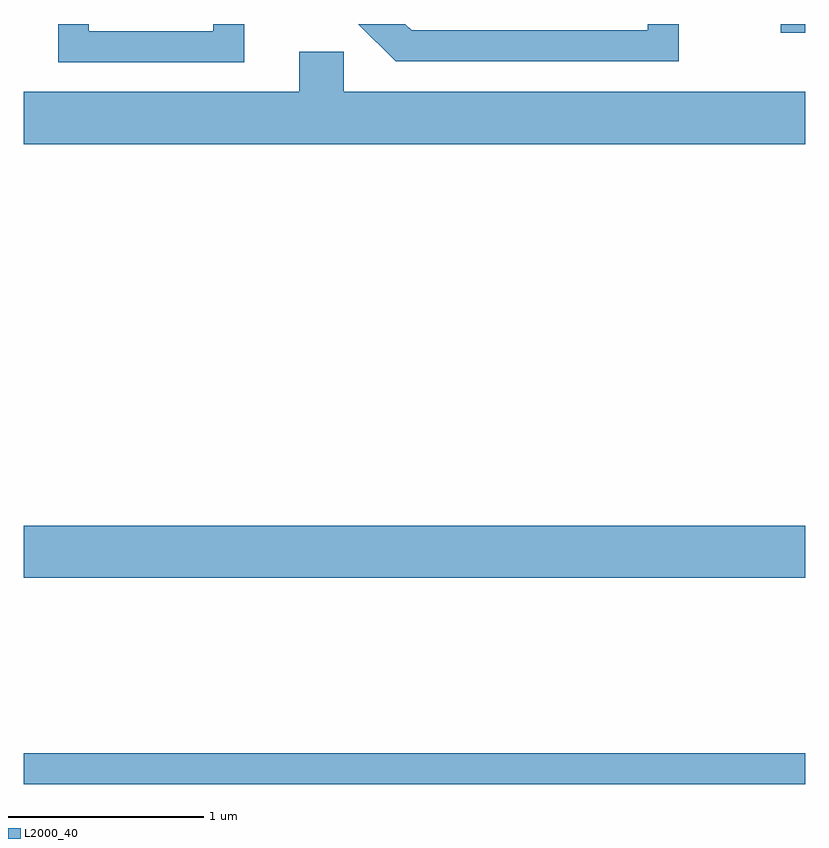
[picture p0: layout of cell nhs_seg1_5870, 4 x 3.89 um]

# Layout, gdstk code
import gdstk
lib = gdstk.Library(unit=1e-6, precision=1e-09)
def R(c, l, rs):  # rectangles x0, y0, x1, y1
    for r in rs: c.add(gdstk.rectangle(r[:2], r[2:], *l))
def P(c, l, *ps):  # polygons
    for p in ps: c.add(gdstk.Polygon(p, *l))
L2000_40 = (2000, 40)

nhs_seg1_5870 = lib.new_cell('nhs_seg1_5870')
R(nhs_seg1_5870, L2000_40, [(361.611,931.821,365.611,931.979), (361.611,932.876,365.611,933.144), (365.486,935.666,365.611,935.712)])
P(nhs_seg1_5870, L2000_40, [(362.739,935.712),(362.581,935.712),(362.581,935.674),(361.944,935.674),(361.944,935.712),(361.786,935.712),(361.786,935.516),(362.739,935.516)],
  [(364.964,935.712),(364.806,935.712),(364.806,935.679),(363.597,935.679),(363.564,935.712),(363.323,935.712),(363.514,935.521),(364.964,935.521)],
  [(365.611,935.364),(363.249,935.364),(363.249,935.569),(363.021,935.569),(363.021,935.364),(361.611,935.364),(361.611,935.096),(365.611,935.096)])

lib.write_gds('nhs_seg1_5870.gds')
